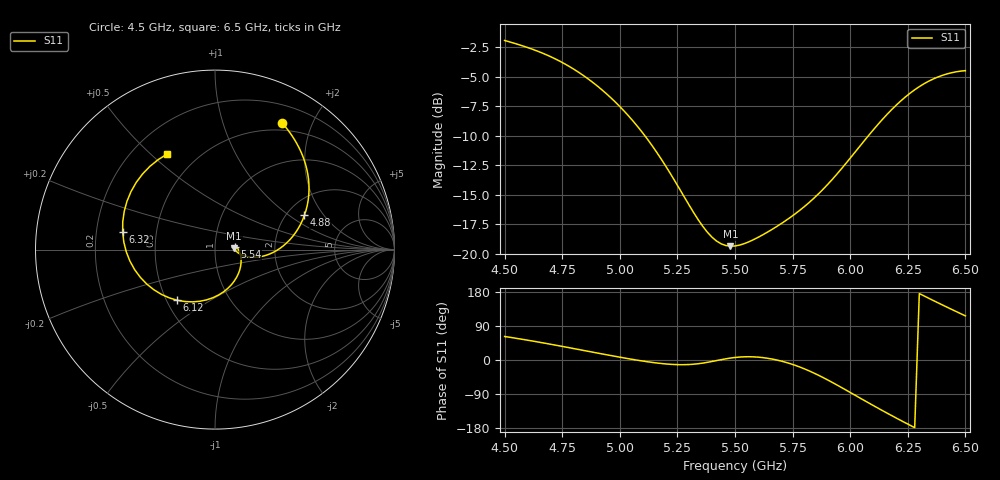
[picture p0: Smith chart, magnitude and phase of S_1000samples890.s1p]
! TOUCHSTONE file generated by CST MICROWAVE STUDIO
! Date and time: Sat Oct 29 17:21:17 2022
! Project name: L.cst
! Parameters = {Di=1.27; Epsilon_r=1.56; InnerDiameter=1.27; Length=2; Lf=10; Lg=60; OuterConductorThickness=0.2921; OuterDiameter=3.6; Wf=3; Wp=41.2; de=1.5; df=6.8; g=0.8; gx=0.402446; gy=1.01615; h=2.34; hf=1.524; px=8.41027; py=10.898; w=9.7; wx=8.00782; wy=9.88189}
! Header version: 2018
! Port assignment regex: !\s*Touchstone port\s*([0-9]+)\s*=\s*(CST MWS port|CST DS port)\s*([0-9]+|Zmin|Zmax)\s*\(\"(.*)\"\)(\s*mode\s*([0-9]+))?.*
! Touchstone port assignment:
! Touchstone port 1 = CST MWS port 1 ("")
# GHz S DB R 50
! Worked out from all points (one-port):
!   101 points, 4.5 GHz to 6.5 GHz, reference 50 ohm
!   lowest |S11| = -19.3 dB at 5.48 GHz (marker M1), VSWR 1.24, Z = 62 + j1.2 ohm
!   |S11| at or under -10 dB: 5.108 GHz to 6.079 GHz (970.9 MHz wide, 17.4 % of centre)
!   S11 on the Smith chart (normalised r, x): 4.5 GHz: 0.41, +1.59; 4.88 GHz: 2.48, +1.32; 5.54 GHz: 1.24, +0.04; 6.12 GHz: 0.57, -0.36; 6.32 GHz: 0.32, +0.09; 6.5 GHz: 0.34, +0.57
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4.5  -1.95 62.1
4.64  -2.83 48.1
4.76  -3.92 34.8
4.88  -5.46 21.0
5  -7.54 7.4
5.12  -10.30 -4.6
5.26  -14.53 -12.4
5.38  -18.17 -6.2
5.42  -18.92 -1.5
5.48  -19.35 5.1
5.5  -19.33 6.7
5.54  -19.14 8.5
5.66  -17.94 2.6
5.76  -16.63 -13.8
5.84  -15.34 -33.7
5.9  -14.17 -51.9
5.96  -12.85 -71.8
6  -11.91 -85.6
6.06  -10.46 -106.3
6.12  -9.06 -126.8
6.18  -7.80 -146.7
6.22  -7.06 -159.6
6.26  -6.41 -172.3
6.32  -5.62 169.2
6.36  -5.21 157.2
6.4  -4.90 145.4
6.44  -4.68 133.7
6.5  -4.50 116.4
